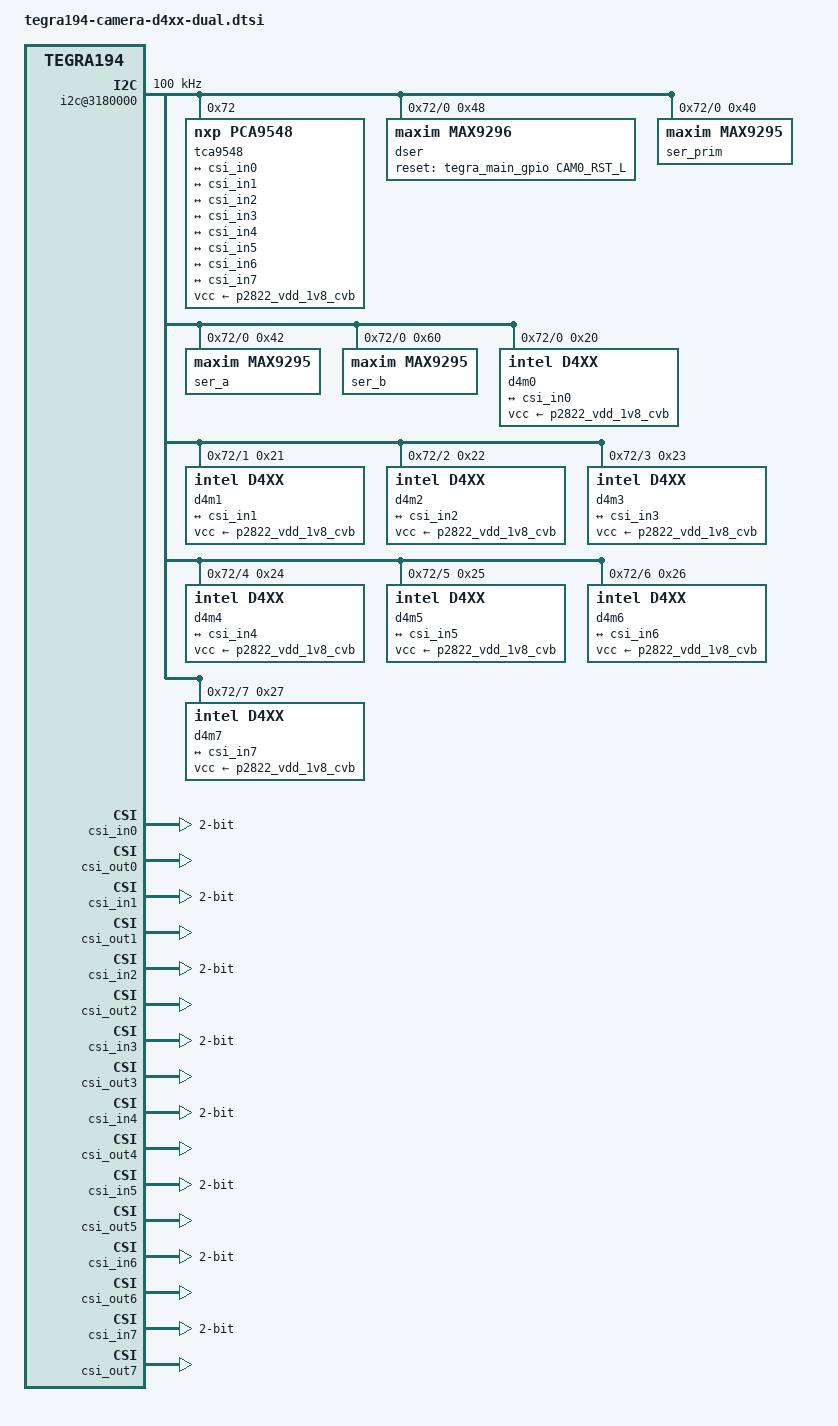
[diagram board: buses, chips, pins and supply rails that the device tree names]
#include "dt-bindings/clock/tegra194-clock.h"

#define CAM0_RST_L	TEGRA194_MAIN_GPIO(H, 3)
#define CAMERA_I2C_MUX_BUS(x) (0x1E + x)

// d4m addr 0x001cclss
// cc: max9296 index.  [0-3] for fg96
// l : a/b link index. [0-1] for a/b
// ss: stream index.   [0-3] for stream. 0: depth 1: color 2: ir 3: imu
// 4x max9296 - 4x d457
// [0x20-0x23][0x28-0x2b][0x30-0x33][0x38-0x3b]
// 4x max9296 - 8x d457
// [0x20-0x23][0x24-0x27]
// [0x28-0x2b][0x2c-0x2f]
// [0x30-0x33][0x34-0x37]
// [0x38-0x3b][0x3c-0x3f]

/ {
	tegra-capture-vi {
		num-channels = <8>;

		ports {
			#address-cells = <1>;
			#size-cells = <0>;

			port@0 {
				reg = <0>;
				status = "okay";

				vi_in0: endpoint {
					status = "okay";
					vc-id = <0>;
					port-index = <0>;
					bus-width = <2>;
					remote-endpoint = <&csi_out0>;
				};
			};
			port@1 {
				reg = <1>;
				status = "okay";

				vi_in1: endpoint {
					status = "okay";
					vc-id = <1>;
					port-index = <0>;
					bus-width = <2>;
					remote-endpoint = <&csi_out1>;
				};
			};
			port@2 {
				reg = <2>;
				status = "okay";

				vi_in2: endpoint {
					status = "okay";
					vc-id = <2>;
					port-index = <0>;
					bus-width = <2>;
					remote-endpoint = <&csi_out2>;
				};
			};
			port@3 {
				reg = <3>;
				status = "okay";

				vi_in3: endpoint {
					status = "okay";
					vc-id = <3>;
					port-index = <0>;
					bus-width = <2>;
					remote-endpoint = <&csi_out3>;
				};
			};
			port@4 {
				reg = <4>;
				status = "okay";

				vi_in4: endpoint {
					status = "okay";
					vc-id = <2>;
					port-index = <0>;
					bus-width = <2>;
					remote-endpoint = <&csi_out4>;
				};
			};
			port@5 {
				reg = <5>;
				status = "okay";

				vi_in5: endpoint {
					status = "okay";
					vc-id = <3>;
					port-index = <0>;
					bus-width = <2>;
					remote-endpoint = <&csi_out5>;
				};
			};
			port@6 {
				reg = <6>;
				status = "okay";

				vi_in6: endpoint {
					status = "okay";
					vc-id = <0>;
					port-index = <0>;
					bus-width = <2>;
					remote-endpoint = <&csi_out6>;
				};
			};
			port@7 {
				reg = <7>;
				status = "okay";

				vi_in7: endpoint {
					status = "okay";
					vc-id = <1>;
					port-index = <0>;
					bus-width = <2>;
					remote-endpoint = <&csi_out7>;
				};
			};
		};
	};

	i2c@3180000 {
		status = "okay";
		clock-frequency = <100000>;
		tca9548@72 {
			status = "okay";
			reg = <0x72>;
			compatible = "nxp,pca9548";
			#address-cells = <1>;
			#size-cells = <0>;
			skip_mux_detect = "yes";
			vcc-supply = <&p2822_vdd_1v8_cvb>;
			/*vcc-pullup-supply = <&battery_reg>;*/
			force_bus_start = <CAMERA_I2C_MUX_BUS(0)>;
			vcc_lp = "vcc";
			i2c@0 {
				reg = <0x0>;
				i2c-mux,deselect-on-exit;
				#address-cells = <1>;
				#size-cells = <0>;

				dser: max9296@48 {
					status = "okay";
					reg = <0x48>;
					compatible = "maxim,max9296";
					csi-mode = "2x4";
					max-src = <2>;
					reset-gpios = <&tegra_main_gpio CAM0_RST_L GPIO_ACTIVE_HIGH>;
				};

				ser_prim: max9295_prim@40 {
					status = "okay";
					reg = <0x40>;
					compatible = "maxim,max9295";
					is-prim-ser;
					ser-mux = <0>;
				};

				ser_a: max9295_a@42 {
					reg = <0x42>;
					compatible = "maxim,max9295";
					maxim,gmsl-dser-device = <&dser>;
				};

				ser_b: max9295_b@60 {
					reg = <0x60>;
					compatible = "maxim,max9295";
					maxim,gmsl-dser-device = <&dser>;
				};

				d4m0: d4m@20 {
					status = "okay";
					reg = <0x20>;
					compatible = "intel,d4xx";
					def-addr = <0x10>;
					vcc-supply = <&p2822_vdd_1v8_cvb>;
					cam-type = "Depth";
					maxim,gmsl-ser-device = <&ser_a>;
					maxim,gmsl-dser-device = <&dser>;
					intel,d4m-mux-device = <&d4m3>;
					ports {
						#address-cells = <1>;
						#size-cells = <0>;

						port@0 {
							reg = <0>;
							d4m0_out: endpoint {
								port-index = <0>;
								bus-width = <2>;
								vc-id = <0>;
								remote-endpoint = <&csi_in0>;
							};
						};
					};
					mode0 {
						pixel_t = "grey_y16";
						num_lanes = "2";
						csi_pixel_bit_depth = "16";
						active_w = "1280";
						active_h = "720";
						tegra_sinterface = "serial_a";
						mclk_khz = "24000";
						pix_clk_hz = "74250000";
						line_length = "1280"; /* 2200 */
						embedded_metadata_height = "1";
					};
					gmsl-link {
						src-csi-port = "b";
						dst-csi-port = "a";
						serdes-csi-link = "a";
						csi-mode = "1x4";
						st-vc = <0>;
						vc-id = <0>;
						num-lanes = <2>;
						ser-mux = <0>;
					};
				};
			};

			i2c@1 {
				status = "okay";
				reg = <0x1>;
				i2c-mux,deselect-on-exit;
				#address-cells = <1>;
				#size-cells = <0>;

				d4m1: d4m@21 {
					status = "okay";
					def-addr = <0x10>;
					reg = <0x21>;
					compatible = "intel,d4xx";
					vcc-supply = <&p2822_vdd_1v8_cvb>;
					cam-type = "RGB";
					maxim,gmsl-ser-device = <&ser_a>;
					maxim,gmsl-dser-device = <&dser>;
					intel,d4m-mux-device = <&d4m3>;
					ports {
						#address-cells = <1>;
						#size-cells = <0>;

						port@0 {
							reg = <0>;
							d4m1_out: endpoint {
								port-index = <0>;
								bus-width = <2>;
								vc-id = <1>;
								remote-endpoint = <&csi_in1>;
							};
						};
					};
					mode0 {
						pixel_t = "grey_y16";
						num_lanes = "2";
						csi_pixel_bit_depth = "16";
						active_w = "1920";
						active_h = "1080";
						tegra_sinterface = "serial_a";
						mclk_khz = "24000";
						pix_clk_hz = "74250000";
						line_length = "1280"; /* 2200 */
						embedded_metadata_height = "1";
					};
					gmsl-link {
						src-csi-port = "b";
						dst-csi-port = "a";
						serdes-csi-link = "a";
						csi-mode = "1x4";
						st-vc = <0>;
						vc-id = <1>;
						num-lanes = <2>;
						ser-mux = <0>;
					};
				};
			};
			i2c@2 {
				reg = <0x2>;
				i2c-mux,deselect-on-exit;
				#address-cells = <1>;
				#size-cells = <0>;

				d4m2: d4m@22 {
					status = "okay";
					reg = <0x22>;
					compatible = "intel,d4xx";
					def-addr = <0x10>;
					vcc-supply = <&p2822_vdd_1v8_cvb>;
					cam-type = "Y8";
					maxim,gmsl-ser-device = <&ser_a>;
					maxim,gmsl-dser-device = <&dser>;
					intel,d4m-mux-device = <&d4m3>;
					ports {
						#address-cells = <1>;
						#size-cells = <0>;

						port@0 {
							reg = <0>;
							d4m2_out: endpoint {
								port-index = <0>;
								bus-width = <2>;
								vc-id = <2>;
								remote-endpoint = <&csi_in2>;
							};
						};
					};
					/* mode0: Y8, mode1: depth D16 */
					mode0 {
						pixel_t = "grey_y16";
						num_lanes = "2";
						csi_pixel_bit_depth = "16";
						active_w = "1280";
						active_h = "720";
						tegra_sinterface = "serial_a";
						mclk_khz = "24000";
						pix_clk_hz = "74250000";
						line_length = "1280"; /* 2200 */
						embedded_metadata_height = "0";
					};
					gmsl-link {
						src-csi-port = "b";
						dst-csi-port = "a";
						serdes-csi-link = "a";
						csi-mode = "1x4";
						st-vc = <0>;
						vc-id = <2>;
						num-lanes = <2>;
						ser-mux = <0>;
					};
				};
			};
			i2c@3 {
				reg = <0x3>;
				i2c-mux,deselect-on-exit;
				#address-cells = <1>;
				#size-cells = <0>;

				d4m3: d4m@23 {
					status = "okay";
					reg = <0x23>;
					compatible = "intel,d4xx";
					def-addr = <0x10>;
					vcc-supply = <&p2822_vdd_1v8_cvb>;
					cam-type = "IMU";
					maxim,gmsl-ser-device = <&ser_a>;
					maxim,gmsl-dser-device = <&dser>;
					intel,d4m-mux-device = <&d4m3>;
					ports {
						#address-cells = <1>;
						#size-cells = <0>;

						port@0 {
							reg = <0>;
							d4m3_out: endpoint {
								port-index = <0>;
								bus-width = <2>;
								vc-id = <3>;
								remote-endpoint = <&csi_in3>;
							};
						};
					};
					mode0 {
						pixel_t = "grey_y16";
						num_lanes = "2";
						csi_pixel_bit_depth = "16";
						active_w = "640";
						active_h = "480";
						tegra_sinterface = "serial_a";
						mclk_khz = "24000";
						pix_clk_hz = "74250000";
						line_length = "1280"; /* 2200 */
						embedded_metadata_height = "0";
					};
					gmsl-link {
						src-csi-port = "b";
						dst-csi-port = "a";
						serdes-csi-link = "a";
						csi-mode = "1x4";
						st-vc = <0>;
						vc-id = <3>;
						num-lanes = <2>;
						ser-mux = <0>;
					};
				};
			};

			i2c@4 {
				reg = <0x4>;
				i2c-mux,deselect-on-exit;
				#address-cells = <1>;
				#size-cells = <0>;

				d4m4: d4m@24 {
					status = "okay";
					reg = <0x24>;
					compatible = "intel,d4xx";
					def-addr = <0x10>;
					vcc-supply = <&p2822_vdd_1v8_cvb>;
					cam-type = "Depth";
					maxim,gmsl-ser-device = <&ser_b>;
					maxim,gmsl-dser-device = <&dser>;
					intel,d4m-mux-device = <&d4m7>;
					ports {
						#address-cells = <1>;
						#size-cells = <0>;

						port@0 {
							reg = <0>;
							d4m4_out: endpoint {
								port-index = <0>;
								bus-width = <2>;
								vc-id = <2>;
								remote-endpoint = <&csi_in4>;
							};
						};
					};
					mode0 {
						pixel_t = "grey_y16";
						num_lanes = "2";
						csi_pixel_bit_depth = "16";
						active_w = "1280";
						active_h = "720";
						tegra_sinterface = "serial_c";
						mclk_khz = "24000";
						pix_clk_hz = "74250000";
						line_length = "1280"; /* 2200 */
						embedded_metadata_height = "1";
					};
					gmsl-link {
						src-csi-port = "b";
						dst-csi-port = "a";
						serdes-csi-link = "b";
						csi-mode = "1x4";
						st-vc = <0>;
						vc-id = <2>;
						num-lanes = <2>;
						ser-mux = <0>;
					};
				};
			};

			i2c@5 {
				reg = <0x5>;
				i2c-mux,deselect-on-exit;
				#address-cells = <1>;
				#size-cells = <0>;

				d4m5: d4m@25 {
					status = "okay";
					reg = <0x25>;
					compatible = "intel,d4xx";
					def-addr = <0x10>;
					vcc-supply = <&p2822_vdd_1v8_cvb>;
					cam-type = "RGB";
					maxim,gmsl-ser-device = <&ser_b>;
					maxim,gmsl-dser-device = <&dser>;
					intel,d4m-mux-device = <&d4m7>;
					ports {
						#address-cells = <1>;
						#size-cells = <0>;

						port@0 {
							reg = <0>;
							d4m5_out: endpoint {
								port-index = <0>;
								bus-width = <2>;
								vc-id = <3>;
								remote-endpoint = <&csi_in5>;
							};
						};
					};
					mode0 {
						pixel_t = "grey_y16";
						num_lanes = "2";
						csi_pixel_bit_depth = "16";
						active_w = "1920";
						active_h = "1080";
						tegra_sinterface = "serial_c";
						mclk_khz = "24000";
						pix_clk_hz = "74250000";
						line_length = "1280"; /* 2200 */
						embedded_metadata_height = "1";
					};
					gmsl-link {
						src-csi-port = "b";
						dst-csi-port = "a";
						serdes-csi-link = "b";
						csi-mode = "1x4";
						st-vc = <0>;
						vc-id = <3>;
						num-lanes = <2>;
						ser-mux = <0>;
					};
				};
			};

			i2c@6 {
				reg = <0x6>;
				i2c-mux,deselect-on-exit;
				#address-cells = <1>;
				#size-cells = <0>;

				d4m6: d4m@26 {
					status = "okay";
					reg = <0x26>;
					compatible = "intel,d4xx";
					def-addr = <0x10>;
					vcc-supply = <&p2822_vdd_1v8_cvb>;
					cam-type = "Y8";
					maxim,gmsl-ser-device = <&ser_b>;
					maxim,gmsl-dser-device = <&dser>;
					intel,d4m-mux-device = <&d4m7>;
					ports {
						#address-cells = <1>;
						#size-cells = <0>;

						port@0 {
							reg = <0>;
							d4m6_out: endpoint {
								port-index = <0>;
								bus-width = <2>;
								vc-id = <0>;
								remote-endpoint = <&csi_in6>;
							};
						};
					};
					/* mode0: Y8, mode1: depth D16 */
					mode0 {
						pixel_t = "grey_y16";
						num_lanes = "2";
						csi_pixel_bit_depth = "16";
						active_w = "1280";
						active_h = "720";
						tegra_sinterface = "serial_c";
						mclk_khz = "24000";
						pix_clk_hz = "74250000";
						line_length = "1280"; /* 2200 */
						embedded_metadata_height = "0";
					};
					gmsl-link {
						src-csi-port = "b";
						dst-csi-port = "a";
						serdes-csi-link = "b";
						csi-mode = "1x4";
						st-vc = <0>;
						vc-id = <0>;
						num-lanes = <2>;
						ser-mux = <0>;
					};
				};
			};
			i2c@7 {
				reg = <0x7>;
				i2c-mux,deselect-on-exit;
				#address-cells = <1>;
				#size-cells = <0>;

				d4m7: d4m@27 {
					status = "okay";
					reg = <0x27>;
					compatible = "intel,d4xx";
					def-addr = <0x10>;
					vcc-supply = <&p2822_vdd_1v8_cvb>;
					cam-type = "IMU";
					maxim,gmsl-ser-device = <&ser_b>;
					maxim,gmsl-dser-device = <&dser>;
					intel,d4m-mux-device = <&d4m7>;
					ports {
						#address-cells = <1>;
						#size-cells = <0>;

						port@0 {
							reg = <0>;
							d4m7_out: endpoint {
								port-index = <0>;
								bus-width = <2>;
								vc-id = <1>;
								remote-endpoint = <&csi_in7>;
							};
						};
					};
					mode0 {
						pixel_t = "grey_y16";
						num_lanes = "2";
						csi_pixel_bit_depth = "16";
						active_w = "640";
						active_h = "480";
						tegra_sinterface = "serial_c";
						mclk_khz = "24000";
						pix_clk_hz = "74250000";
						line_length = "1280"; /* 2200 */
						embedded_metadata_height = "0";
					};
					gmsl-link {
						src-csi-port = "b";
						dst-csi-port = "a";
						serdes-csi-link = "b";
						csi-mode = "1x4";
						st-vc = <0>;
						vc-id = <1>;
						num-lanes = <2>;
						ser-mux = <0>;
					};
				};
			};
		};
	};

	host1x@13e00000 {
		nvcsi@15a00000 {
			#address-cells = <1>;
			#size-cells = <0>;

			num-channels = <8>;

			channel@0 {
				reg = <0x0>;
				status = "okay";

				ports {
					#address-cells = <1>;
					#size-cells = <0>;

					port@0 {
						reg = <0>;
						status = "okay";

						csi_in0: endpoint@0 {
							status = "okay";
							port-index = <0>;
							bus-width = <2>;
							remote-endpoint = <&d4m0_out>;
						};
					};
					port@1 {
						reg = <1>;
						status = "okay";
						csi_out0: endpoint@1 {
							status = "okay";
							remote-endpoint = <&vi_in0>;
						};
					};

				};
			};
			channel@1 {
				reg = <0x1>;
				status = "okay";

				ports {
					#address-cells = <1>;
					#size-cells = <0>;

					port@0 {
						reg = <0>;
						status = "okay";

						csi_in1: endpoint@2 {
							status = "okay";
							port-index = <0>;
							bus-width = <2>;
							remote-endpoint = <&d4m1_out>;
						};
					};
					port@1 {
						reg = <1>;
						status = "okay";
						csi_out1: endpoint@3 {
							status = "okay";
							remote-endpoint = <&vi_in1>;
						};
					};

				};
			};
			channel@2 {
				reg = <0x2>;
				status = "okay";

				ports {
					#address-cells = <1>;
					#size-cells = <0>;

					port@0 {
						reg = <0>;
						status = "okay";

						csi_in2: endpoint@4 {
							status = "okay";
							port-index = <0>;
							bus-width = <2>;
							remote-endpoint = <&d4m2_out>;
						};
					};
					port@1 {
						reg = <1>;
						status = "okay";
						csi_out2: endpoint@5 {
							status = "okay";
							remote-endpoint = <&vi_in2>;
						};
					};
				};
			};
			channel@3 {
				reg = <0x3>;
				status = "okay";

				ports {
					#address-cells = <1>;
					#size-cells = <0>;

					port@0 {
						reg = <0>;
						status = "okay";

						csi_in3: endpoint@6 {
							status = "okay";
							port-index = <0>;
							bus-width = <2>;
							remote-endpoint = <&d4m3_out>;
						};
					};
					port@1 {
						reg = <1>;
						status = "okay";
						csi_out3: endpoint@7 {
							status = "okay";
							remote-endpoint = <&vi_in3>;
						};
					};
				};
			};
			channel@4 {
				reg = <0x4>;
				status = "okay";

				ports {
					#address-cells = <1>;
					#size-cells = <0>;

					port@0 {
						reg = <0>;
						status = "okay";

						csi_in4: endpoint@8 {
							status = "okay";
							port-index = <0>;
							bus-width = <2>;
							remote-endpoint = <&d4m4_out>;
						};
					};
					port@1 {
						reg = <1>;
						status = "okay";
						csi_out4: endpoint@9 {
							status = "okay";
							remote-endpoint = <&vi_in4>;
						};
					};
				};
			};
			channel@5 {
				reg = <0x5>;
				status = "okay";

				ports {
					#address-cells = <1>;
					#size-cells = <0>;

					port@0 {
						reg = <0>;
						status = "okay";

						csi_in5: endpoint@10 {
							status = "okay";
							port-index = <0>;
							bus-width = <2>;
							remote-endpoint = <&d4m5_out>;
						};
					};
					port@1 {
						reg = <1>;
						status = "okay";
						csi_out5: endpoint@11 {
							status = "okay";
							remote-endpoint = <&vi_in5>;
						};
					};
				};
			};
			channel@6 {
				reg = <0x6>;
				status = "okay";

				ports {
					#address-cells = <1>;
					#size-cells = <0>;

					port@0 {
						reg = <0>;
						status = "okay";

						csi_in6: endpoint@12 {
							status = "okay";
							port-index = <0>;
							bus-width = <2>;
							remote-endpoint = <&d4m6_out>;
						};
					};
					port@1 {
						reg = <1>;
						status = "okay";
						csi_out6: endpoint@13 {
							status = "okay";
							remote-endpoint = <&vi_in6>;
						};
					};
				};
			};
			channel@7 {
				reg = <0x7>;
				status = "okay";

				ports {
					#address-cells = <1>;
					#size-cells = <0>;

					port@0 {
						reg = <0>;
						status = "okay";

						csi_in7: endpoint@14 {
							status = "okay";
							port-index = <0>;
							bus-width = <2>;
							remote-endpoint = <&d4m7_out>;
						};
					};
					port@1 {
						reg = <1>;
						status = "okay";
						csi_out7: endpoint@15 {
							status = "okay";
							remote-endpoint = <&vi_in7>;
						};
					};
				};
			};
		};
	};
};
